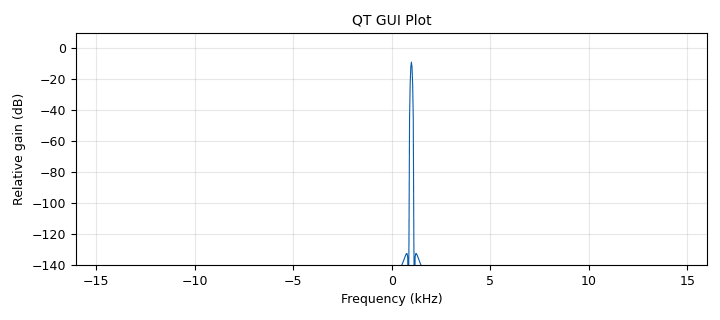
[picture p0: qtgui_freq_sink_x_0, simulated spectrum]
<?xml version='1.0' encoding='utf-8'?>
<flow_graph>
<block>
<key>options</key>
<param><key>id</key><value>variable_config_demo</value></param>
<param><key>title</key><value>Variable Config Block Demonstration</value></param>
<param><key>author</key><value>Example</value></param>
<param><key>description</key><value>Save/Load freq from a config file.</value></param>
<param><key>generate_options</key><value>qt_gui</value></param>
<param><key>category</key><value>Custom</value></param>
</block>
<block>
<key>variable</key>
<param><key>id</key><value>samp_rate</value></param>
<param><key>value</key><value>32000</value></param>
</block>
<block>
<key>analog_sig_source_x</key>
<param><key>id</key><value>analog_sig_source_x_0</value></param>
<param><key>type</key><value>complex</value></param>
<param><key>samp_rate</key><value>samp_rate</value></param>
<param><key>waveform</key><value>analog.GR_COS_WAVE</value></param>
<param><key>freq</key><value>freq</value></param>
<param><key>amp</key><value>1</value></param>
<param><key>offset</key><value>0</value></param>
</block>
<block>
<key>blocks_throttle</key>
<param><key>id</key><value>blocks_throttle_0</value></param>
<param><key>type</key><value>complex</value></param>
<param><key>samples_per_second</key><value>samp_rate</value></param>
</block>
<block>
<key>qtgui_freq_sink_x</key>
<param><key>id</key><value>qtgui_freq_sink_x_0</value></param>
<param><key>type</key><value>complex</value></param>
<param><key>name</key><value>QT GUI Plot</value></param>
<param><key>fftsize</key><value>1024</value></param>
<param><key>wintype</key><value>firdes.WIN_BLACKMAN_hARRIS</value></param>
<param><key>fc</key><value>0</value></param>
<param><key>bw</key><value>samp_rate</value></param>
</block>
<block>
<key>variable_qtgui_range</key>
<param><key>id</key><value>freq</value></param>
<param><key>label</key><value>Frequency (Hz)</value></param>
<param><key>value</key><value>1e3</value></param>
<param><key>start</key><value>-samp_rate/2</value></param>
<param><key>stop</key><value>samp_rate/2</value></param>
<param><key>step</key><value>1</value></param>
<param><key>orient</key><value>Qt.Horizontal</value></param>
</block>
<block>
<key>variable_config</key>
<param><key>id</key><value>freq_init</value></param>
<param><key>value</key><value>1000</value></param>
<param><key>type</key><value>real</value></param>
<param><key>config_file</key><value>/home/mbant/.gnuradio/config.conf</value></param>
<param><key>section</key><value>main</value></param>
<param><key>option</key><value>freq</value></param>
<param><key>writeback</key><value>freq</value></param>
</block>
<connection><source_block_id>analog_sig_source_x_0</source_block_id><sink_block_id>blocks_throttle_0</sink_block_id><source_key>0</source_key><sink_key>0</sink_key></connection>
<connection><source_block_id>blocks_throttle_0</source_block_id><sink_block_id>qtgui_freq_sink_x_0</sink_block_id><source_key>0</source_key><sink_key>0</sink_key></connection>
</flow_graph>
